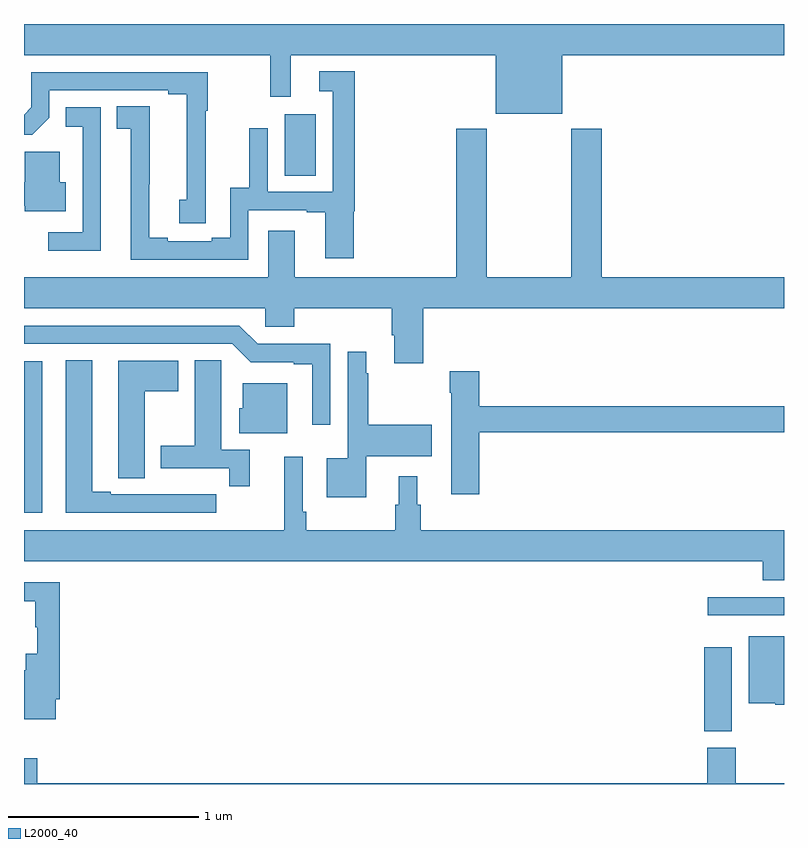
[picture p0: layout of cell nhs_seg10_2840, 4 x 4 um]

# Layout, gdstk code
import gdstk
lib = gdstk.Library(unit=1e-6, precision=1e-09)
def R(c, l, rs):  # rectangles x0, y0, x1, y1
    for r in rs: c.add(gdstk.rectangle(r[:2], r[2:], *l))
def P(c, l, *ps):  # polygons
    for p in ps: c.add(gdstk.Polygon(p, *l))
L2000_40 = (2000, 40)

nhs_seg10_2840 = lib.new_cell('nhs_seg10_2840')
R(nhs_seg10_2840, L2000_40, [(268.58,1276.777,268.726,1277.221), (268.599,1277.388,269,1277.484), (265,1277.928,265.096,1278.726), (266.372,1279.702,266.536,1280.026)])
P(nhs_seg10_2840, L2000_40, [(267.832,1280.336),(269,1280.336),(269,1280.5),(265,1280.5),(265,1280.336),(266.295,1280.336),(266.295,1280.118),(266.404,1280.118),(266.404,1280.336),(267.482,1280.336),(267.482,1280.027),(267.832,1280.027)],
  [(266.181,1279.521),(266.489,1279.521),(266.489,1279.509),(266.585,1279.509),(266.585,1279.266),(266.735,1279.266),(266.735,1279.514),(266.741,1279.514),(266.741,1280.251),(266.553,1280.251),(266.553,1280.145),(266.625,1280.145),(266.625,1279.617),(266.283,1279.617),(266.283,1279.951),(266.185,1279.951),(266.185,1279.637),(266.085,1279.637),(266.085,1279.376),(265.988,1279.376),(265.988,1279.356),(265.756,1279.356),(265.756,1279.376),(265.66,1279.376),(265.66,1279.657),(265.661,1279.657),(265.661,1280.066),(265.489,1280.066),(265.489,1279.948),(265.562,1279.948),(265.562,1279.26),(266.181,1279.26)],
  [(265.957,1280.044),(265.967,1280.044),(265.967,1280.247),(265.038,1280.247),(265.038,1280.061),(265,1280.023),(265,1279.917),(265.044,1279.917),(265.134,1280.007),(265.134,1280.151),(265.76,1280.151),(265.76,1280.131),(265.856,1280.131),(265.856,1279.576),(265.817,1279.576),(265.817,1279.452),(265.957,1279.452)],
  [(265.405,1279.858),(265.404,1279.858),(265.404,1280.061),(265.219,1280.061),(265.219,1279.96),(265.308,1279.96),(265.308,1279.404),(265.128,1279.404),(265.128,1279.307),(265.405,1279.307)],
  [(267.101,1279.004),(269,1279.004),(269,1279.168),(268.04,1279.168),(268.04,1279.948),(267.88,1279.948),(267.88,1279.168),(267.435,1279.168),(267.435,1279.948),(267.275,1279.948),(267.275,1279.168),(266.425,1279.168),(266.425,1279.411),(266.285,1279.411),(266.285,1279.168),(265,1279.168),(265,1279.004),(266.271,1279.004),(266.271,1278.906),(266.423,1278.906),(266.423,1279.004),(266.936,1279.004),(266.936,1278.862),(266.948,1278.862),(266.948,1278.714),(267.101,1278.714)],
  [(265.219,1279.666),(265.189,1279.666),(265.189,1279.828),(265.004,1279.828),(265.004,1279.666),(265,1279.666),(265,1279.544),(265.004,1279.544),(265.004,1279.514),(265.219,1279.514)],
  [(266.613,1278.816),(266.229,1278.816),(266.133,1278.912),(265,1278.912),(265,1278.816),(266.097,1278.816),(266.193,1278.72),(266.42,1278.72),(266.42,1278.708),(266.516,1278.708),(266.516,1278.39),(266.613,1278.39)],
  [(266.8,1278.224),(267.145,1278.224),(267.145,1278.39),(266.812,1278.39),(266.812,1278.662),(266.8,1278.662),(266.8,1278.775),(266.703,1278.775),(266.703,1278.214),(266.594,1278.214),(266.594,1278.008),(266.8,1278.008)],
  [(266.189,1278.258),(266.038,1278.258),(266.038,1278.62),(266.037,1278.62),(266.037,1278.731),(265.898,1278.731),(265.898,1278.279),(265.721,1278.279),(265.721,1278.162),(266.08,1278.162),(266.08,1278.066),(266.189,1278.066)],
  [(266.011,1278.024),(265.898,1278.024),(265.898,1278.025),(265.732,1278.025),(265.732,1278.024),(265.456,1278.024),(265.456,1278.039),(265.36,1278.039),(265.36,1278.731),(265.22,1278.731),(265.22,1277.928),(266.011,1277.928)],
  [(265.636,1278.568),(265.813,1278.568),(265.813,1278.727),(265.496,1278.727),(265.496,1278.217),(265.497,1278.217),(265.497,1278.109),(265.636,1278.109)],
  [(267.395,1278.352),(269,1278.352),(269,1278.488),(267.395,1278.488),(267.395,1278.673),(267.241,1278.673),(267.241,1278.56),(267.248,1278.56),(267.248,1278.024),(267.395,1278.024)],
  [(266.386,1278.61),(266.15,1278.61),(266.15,1278.477),(266.132,1278.477),(266.132,1278.347),(266.386,1278.347)],
  [(269,1277.836),(267.089,1277.836),(267.089,1277.97),(267.07,1277.97),(267.07,1278.121),(266.972,1278.121),(266.972,1277.97),(266.953,1277.97),(266.953,1277.836),(266.486,1277.836),(266.486,1277.932),(266.466,1277.932),(266.466,1278.223),(266.369,1278.223),(266.369,1277.836),(265,1277.836),(265,1277.672),(268.889,1277.672),(268.889,1277.573),(269,1277.573)],
  [(265.168,1276.945),(265.187,1276.945),(265.187,1277.562),(265,1277.562),(265,1277.461),(265.059,1277.461),(265.059,1277.325),(265.07,1277.325),(265.07,1277.185),(265.01,1277.185),(265.01,1277.098),(265,1277.098),(265,1276.841),(265.168,1276.841)],
  [(269,1277.278),(268.814,1277.278),(268.814,1276.925),(268.953,1276.925),(268.953,1276.916),(269,1276.916)],
  [(269,1276.504),(268.747,1276.504),(268.747,1276.692),(268.595,1276.692),(268.595,1276.504),(265.07,1276.504),(265.07,1276.636),(265,1276.636),(265,1276.5),(269,1276.5)])

lib.write_gds('nhs_seg10_2840.gds')
